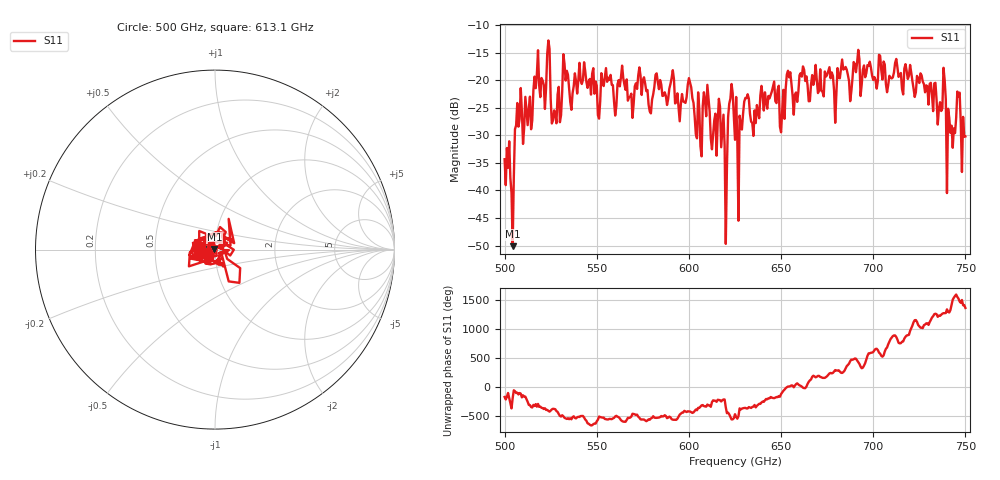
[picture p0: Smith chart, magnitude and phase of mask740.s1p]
!Created with skrf (http://scikit-rf.org).
# GHz S MA R 50.0
!freq magS11 angS11
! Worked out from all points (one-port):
!   401 points, 500 GHz to 750 GHz, reference 50 ohm
!   lowest |S11| = -50.1 dB at 504.4 GHz (marker M1), VSWR 1.01, Z = 49.7 + j0.0719 ohm
!   |S11| at or under -10 dB: start of sweep to end of sweep
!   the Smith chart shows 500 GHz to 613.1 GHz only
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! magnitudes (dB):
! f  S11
! 500 GHz  -34.3
! 504.4 GHz  -50.1
! 507.5 GHz  -28.4
! 513.8 GHz  -23.0
! 516.9 GHz  -21.4
! 523.8 GHz  -12.8
! 526.9 GHz  -25.5
! 531.2 GHz  -22.0
! 562.5 GHz  -21.1
! 579.4 GHz  -26.0
! 590.6 GHz  -19.6
! 593.8 GHz  -22.4
! 600.6 GHz  -20.5
! 605.6 GHz  -25.3
! 609.4 GHz  -26.5
! 613.8 GHz  -27.3
! 617.5 GHz  -32.2
! 619.4 GHz  -31.9
! 621.2 GHz  -26.7
! 622.5 GHz  -23.3
! 625 GHz  -30.8
! 627.5 GHz  -26.4
! 631.2 GHz  -23.3
! 635 GHz  -30.1
! 656.2 GHz  -22.8
! 687.5 GHz  -23.8
! 718.8 GHz  -19.8
! 750 GHz  -30.2
